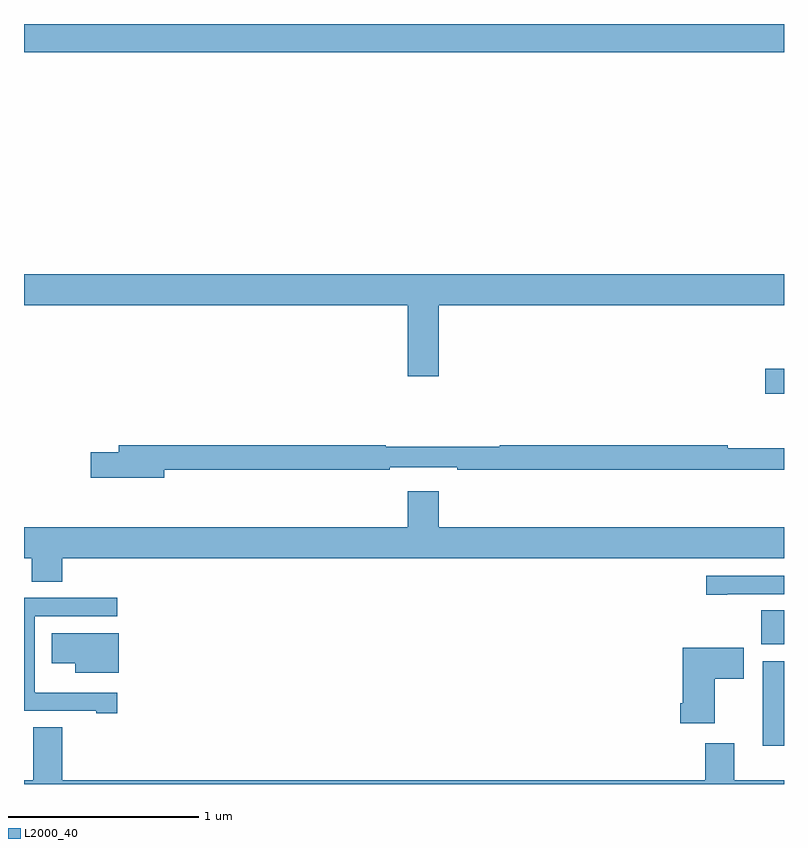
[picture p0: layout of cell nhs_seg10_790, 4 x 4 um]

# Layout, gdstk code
import gdstk
lib = gdstk.Library(unit=1e-6, precision=1e-09)
def R(c, l, rs):  # rectangles x0, y0, x1, y1
    for r in rs: c.add(gdstk.rectangle(r[:2], r[2:], *l))
def P(c, l, *ps):  # polygons
    for p in ps: c.add(gdstk.Polygon(p, *l))
L2000_40 = (2000, 40)

nhs_seg10_790 = lib.new_cell('nhs_seg10_790')
R(nhs_seg10_790, L2000_40, [(154.889,1260.702,155,1261.147), (154.88,1261.236,155,1261.415), (154.902,1262.555,155,1262.685), (151,1264.352,155,1264.5)])
P(nhs_seg10_790, L2000_40, [(151,1263.02),(153.02,1263.02),(153.02,1262.646),(153.184,1262.646),(153.184,1263.02),(155,1263.02),(155,1263.184),(151,1263.184)],
  [(151.738,1262.154),(152.924,1262.154),(152.924,1262.166),(153.28,1262.166),(153.28,1262.154),(155,1262.154),(155,1262.267),(154.703,1262.267),(154.703,1262.282),(153.503,1262.282),(153.503,1262.275),(152.903,1262.275),(152.903,1262.282),(151.499,1262.282),(151.499,1262.246),(151.35,1262.246),(151.35,1262.111),(151.738,1262.111)],
  [(151.202,1261.688),(155,1261.688),(155,1261.852),(153.184,1261.852),(153.184,1262.041),(153.02,1262.041),(153.02,1261.852),(151,1261.852),(151,1261.688),(151.042,1261.688),(151.042,1261.564),(151.202,1261.564)],
  [(154.702,1261.5),(155,1261.5),(155,1261.596),(154.59,1261.596),(154.59,1261.495),(154.702,1261.495)],
  [(151.492,1260.981),(151.058,1260.981),(151.058,1260.982),(151.056,1260.982),(151.056,1261.383),(151.492,1261.383),(151.492,1261.479),(151,1261.479),(151,1260.885),(151.379,1260.885),(151.379,1260.873),(151.492,1260.873)],
  [(151.498,1261.294),(151.146,1261.294),(151.146,1261.136),(151.271,1261.136),(151.271,1261.085),(151.498,1261.085)],
  [(154.636,1261.054),(154.789,1261.054),(154.789,1261.216),(154.466,1261.216),(154.466,1260.925),(154.454,1260.925),(154.454,1260.821),(154.636,1260.821)],
  [(155,1260.52),(154.738,1260.52),(154.738,1260.715),(154.586,1260.715),(154.586,1260.52),(151.202,1260.52),(151.202,1260.8),(151.049,1260.8),(151.049,1260.52),(151,1260.52),(151,1260.5),(155,1260.5)])

lib.write_gds('nhs_seg10_790.gds')
